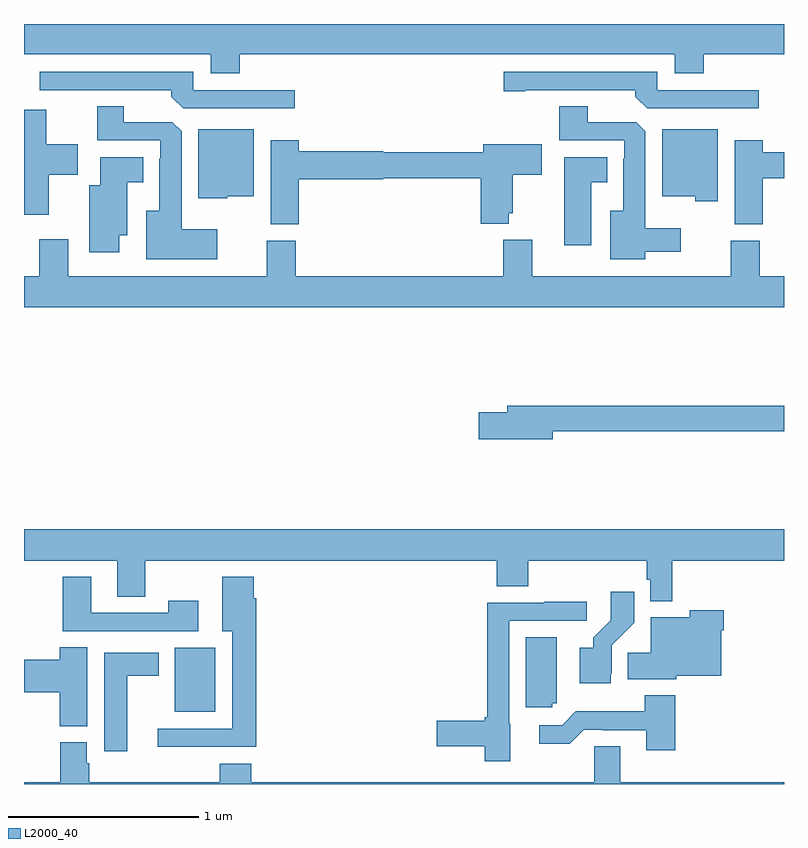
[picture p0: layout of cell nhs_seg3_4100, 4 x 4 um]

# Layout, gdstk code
import gdstk
lib = gdstk.Library(unit=1e-6, precision=1e-09)
def R(c, l, rs):  # rectangles x0, y0, x1, y1
    for r in rs: c.add(gdstk.rectangle(r[:2], r[2:], *l))
def P(c, l, *ps):  # polygons
    for p in ps: c.add(gdstk.Polygon(p, *l))
L2000_40 = (2000, 40)

nhs_seg3_4100 = lib.new_cell('nhs_seg3_4100')
R(nhs_seg3_4100, L2000_40, [(327.794,706.781,328.006,707.116)])
P(nhs_seg3_4100, L2000_40, [(328.136,710.24),(330.425,710.24),(330.425,710.141),(330.578,710.141),(330.578,710.24),(331,710.24),(331,710.4),(327,710.4),(327,710.24),(327.983,710.24),(327.983,710.141),(328.136,710.141)],
  [(328.426,710.052),(327.891,710.052),(327.891,710.148),(327.084,710.148),(327.084,710.052),(327.776,710.052),(327.776,710.018),(327.837,709.956),(328.426,709.956)],
  [(330.868,710.052),(330.333,710.052),(330.333,710.148),(329.526,710.148),(329.526,710.047),(329.638,710.047),(329.638,710.052),(330.218,710.052),(330.218,710.018),(330.279,709.956),(330.868,709.956)],
  [(328.018,709.321),(327.829,709.321),(327.829,709.835),(327.78,709.884),(327.526,709.884),(327.526,709.967),(327.386,709.967),(327.386,709.788),(327.717,709.788),(327.717,709.691),(327.713,709.691),(327.713,709.417),(327.644,709.417),(327.644,709.163),(328.018,709.163)],
  [(330.271,709.202),(330.457,709.202),(330.457,709.324),(330.271,709.324),(330.271,709.835),(330.222,709.884),(329.968,709.884),(329.968,709.967),(329.816,709.967),(329.816,709.788),(330.159,709.788),(330.159,709.691),(330.155,709.691),(330.155,709.417),(330.086,709.417),(330.086,709.163),(330.271,709.163)],
  [(327.13,709.606),(327.283,709.606),(327.283,709.768),(327.118,709.768),(327.118,709.948),(327,709.948),(327,709.395),(327.13,709.395)],
  [(328.071,709.493),(328.21,709.493),(328.21,709.846),(327.917,709.846),(327.917,709.484),(328.071,709.484)],
  [(330.652,709.846),(330.359,709.846),(330.359,709.493),(330.534,709.493),(330.534,709.466),(330.652,709.466)],
  [(328.445,709.583),(328.89,709.583),(328.89,709.588),(329.405,709.588),(329.405,709.349),(329.55,709.349),(329.55,709.403),(329.572,709.403),(329.572,709.606),(329.725,709.606),(329.725,709.768),(329.417,709.768),(329.417,709.724),(328.89,709.724),(328.89,709.73),(328.445,709.73),(328.445,709.789),(328.298,709.789),(328.298,709.345),(328.445,709.345)],
  [(330.887,709.588),(331,709.588),(331,709.724),(330.887,709.724),(330.887,709.789),(330.74,709.789),(330.74,709.345),(330.887,709.345)],
  [(329.986,709.568),(330.07,709.568),(330.07,709.699),(329.843,709.699),(329.843,709.236),(329.986,709.236)],
  [(327.502,709.289),(327.544,709.289),(327.544,709.568),(327.628,709.568),(327.628,709.699),(327.401,709.699),(327.401,709.552),(327.344,709.552),(327.344,709.2),(327.502,709.2)],
  [(331,709.072),(330.872,709.072),(330.872,709.26),(330.719,709.26),(330.719,709.072),(329.674,709.072),(329.674,709.264),(329.522,709.264),(329.522,709.072),(328.43,709.072),(328.43,709.26),(328.277,709.26),(328.277,709.072),(327.232,709.072),(327.232,709.267),(327.08,709.267),(327.08,709.072),(327,709.072),(327,708.908),(331,708.908)],
  [(329.782,708.256),(331,708.256),(331,708.392),(329.543,708.392),(329.543,708.356),(329.394,708.356),(329.394,708.214),(329.782,708.214)],
  [(330.413,707.576),(331,707.576),(331,707.74),(327,707.74),(327,707.576),(327.491,707.576),(327.491,707.386),(327.639,707.386),(327.639,707.576),(329.489,707.576),(329.489,707.44),(329.654,707.44),(329.654,707.576),(330.277,707.576),(330.277,707.475),(330.297,707.475),(330.297,707.363),(330.413,707.363)],
  [(328.223,707.378),(328.21,707.378),(328.21,707.491),(328.043,707.491),(328.043,707.204),(328.097,707.204),(328.097,706.692),(327.705,706.692),(327.705,706.595),(328.223,706.595)],
  [(327.916,707.365),(327.76,707.365),(327.76,707.301),(327.355,707.301),(327.355,707.491),(327.203,707.491),(327.203,707.205),(327.916,707.205)],
  [(330.088,706.98),(330.093,706.98),(330.093,707.131),(330.212,707.25),(330.212,707.413),(330.087,707.413),(330.087,707.261),(329.996,707.171),(329.996,707.116),(329.924,707.116),(329.924,706.931),(330.088,706.931)],
  [(329.56,706.716),(329.553,706.716),(329.553,707.259),(329.962,707.259),(329.962,707.358),(329.737,707.358),(329.737,707.355),(329.437,707.355),(329.437,706.751),(329.424,706.751),(329.424,706.733),(329.172,706.733),(329.172,706.598),(329.424,706.598),(329.424,706.52),(329.56,706.52)],
  [(330.432,706.97),(330.67,706.97),(330.67,707.21),(330.683,707.21),(330.683,707.314),(330.505,707.314),(330.505,707.278),(330.299,707.278),(330.299,707.09),(330.178,707.09),(330.178,706.952),(330.432,706.952)],
  [(329.781,706.824),(329.803,706.824),(329.803,707.173),(329.642,707.173),(329.642,706.803),(329.781,706.803)],
  [(327.334,707.12),(327.188,707.12),(327.188,707.054),(327,707.054),(327,706.882),(327.188,706.882),(327.188,706.705),(327.334,706.705)],
  [(327.544,706.97),(327.709,706.97),(327.709,707.092),(327.422,707.092),(327.422,706.572),(327.544,706.572)],
  [(330.428,706.867),(330.268,706.867),(330.268,706.783),(329.905,706.783),(329.832,706.71),(329.712,706.71),(329.712,706.613),(329.873,706.613),(329.946,706.686),(330.046,706.686),(330.046,706.683),(330.275,706.683),(330.275,706.578),(330.428,706.578)],
  [(331,706.408),(330.139,706.408),(330.139,706.598),(330,706.598),(330,706.408),(328.196,706.408),(328.196,706.507),(328.031,706.507),(328.031,706.408),(327.344,706.408),(327.344,706.509),(327.331,706.509),(327.331,706.62),(327.191,706.62),(327.191,706.408),(327,706.408),(327,706.4),(331,706.4)])

lib.write_gds('nhs_seg3_4100.gds')
